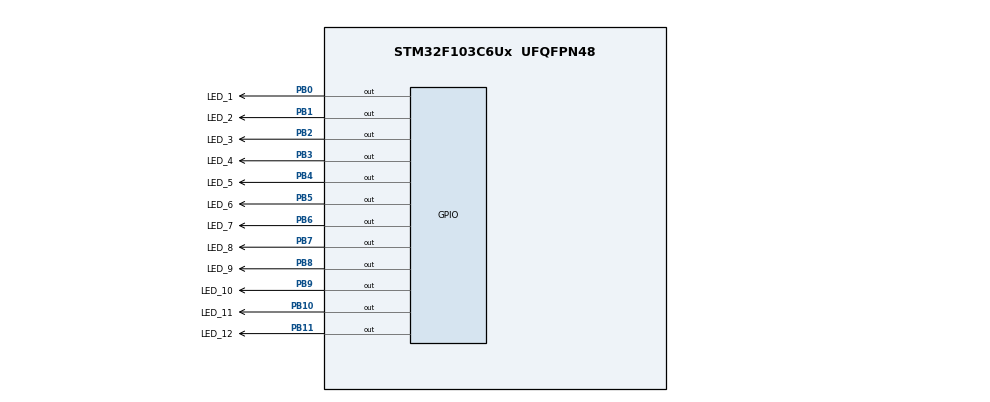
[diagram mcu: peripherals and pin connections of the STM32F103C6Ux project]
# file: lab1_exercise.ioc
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Mcu.Family=STM32F1
Mcu.Name=STM32F103C6Ux
Mcu.Package=UFQFPN48
NVIC.PriorityGroup=NVIC_PRIORITYGROUP_4
PB0.GPIO_Label=LED_1
PB0.Signal=GPIO_Output
PB1.GPIO_Label=LED_2
PB1.Signal=GPIO_Output
PB10.GPIO_Label=LED_11
PB10.Signal=GPIO_Output
PB11.GPIO_Label=LED_12
PB11.Signal=GPIO_Output
PB2.GPIO_Label=LED_3
PB2.Signal=GPIO_Output
PB3.GPIO_Label=LED_4
PB3.Signal=GPIO_Output
PB4.GPIO_Label=LED_5
PB4.Signal=GPIO_Output
PB5.GPIO_Label=LED_6
PB5.Signal=GPIO_Output
PB6.GPIO_Label=LED_7
PB6.Signal=GPIO_Output
PB7.GPIO_Label=LED_8
PB7.Signal=GPIO_Output
PB8.GPIO_Label=LED_9
PB8.Signal=GPIO_Output
PB9.GPIO_Label=LED_10
PB9.Signal=GPIO_Output
ProjectManager.HeapSize=0x200
ProjectManager.StackSize=0x400
ProjectManager.TargetToolchain=STM32CubeIDE
RCC.APB1Freq_Value=8000000
RCC.APB2Freq_Value=8000000
VP_SYS_VS_ND.Mode=No_Debug
board=custom

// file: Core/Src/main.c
/* USER CODE BEGIN Header */
/**
  ******************************************************************************
  * @file           : main.c
  * @brief          : Main program body
  ******************************************************************************
  * @attention
  *
  * <h2><center>&copy; Copyright (c) 2024 STMicroelectronics.
  * All rights reserved.</center></h2>
  *
  * This software component is licensed by ST under BSD 3-Clause license,
  * the "License"; You may not use this file except in compliance with the
  * License. You may obtain a copy of the License at:
  *                        opensource.org/licenses/BSD-3-Clause
  *
  ******************************************************************************
  */
/* USER CODE END Header */
#include "main.h"

void SystemClock_Config(void);
static void MX_GPIO_Init(void);

/* USER CODE BEGIN 0 */
void setNumberOnClock(int num){
	switch(num){
		case 1:
			HAL_GPIO_WritePin(LED_1_GPIO_Port, LED_1_Pin, SET);
			break;
		case 2:
			HAL_GPIO_WritePin(LED_2_GPIO_Port, LED_2_Pin, SET);
			break;
		case 3:
			HAL_GPIO_WritePin(LED_3_GPIO_Port, LED_3_Pin, SET);
			break;
		case 4:
			HAL_GPIO_WritePin(LED_4_GPIO_Port, LED_4_Pin, SET);
			break;
		case 5:
			HAL_GPIO_WritePin(LED_5_GPIO_Port, LED_5_Pin, SET);
			break;
		case 6:
			HAL_GPIO_WritePin(LED_6_GPIO_Port, LED_6_Pin, SET);
			break;
		case 7:
			HAL_GPIO_WritePin(LED_7_GPIO_Port, LED_7_Pin, SET);
			break;
		case 8:
			HAL_GPIO_WritePin(LED_8_GPIO_Port, LED_8_Pin, SET);
			break;
		case 9:
			HAL_GPIO_WritePin(LED_9_GPIO_Port, LED_9_Pin, SET);
			break;
		case 10:
			HAL_GPIO_WritePin(LED_10_GPIO_Port, LED_10_Pin, SET);
			break;
		case 11:
			HAL_GPIO_WritePin(LED_11_GPIO_Port, LED_11_Pin, SET);
			break;
		case 12:
			HAL_GPIO_WritePin(LED_12_GPIO_Port, LED_12_Pin, SET);
			break;
		default:
			break;
		}
}
void clearNumberOnClock(int num){
	switch(num){
		case 1:
			HAL_GPIO_WritePin(LED_1_GPIO_Port, LED_1_Pin, RESET);
			break;
		case 2:
			HAL_GPIO_WritePin(LED_2_GPIO_Port, LED_2_Pin, RESET);
			break;
		case 3:
			HAL_GPIO_WritePin(LED_3_GPIO_Port, LED_3_Pin, RESET);
			break;
		case 4:
			HAL_GPIO_WritePin(LED_4_GPIO_Port, LED_4_Pin, RESET);
			break;
		case 5:
			HAL_GPIO_WritePin(LED_5_GPIO_Port, LED_5_Pin, RESET);
			break;
		case 6:
			HAL_GPIO_WritePin(LED_6_GPIO_Port, LED_6_Pin, RESET);
			break;
		case 7:
			HAL_GPIO_WritePin(LED_7_GPIO_Port, LED_7_Pin, RESET);
			break;
		case 8:
			HAL_GPIO_WritePin(LED_8_GPIO_Port, LED_8_Pin, RESET);
			break;
		case 9:
			HAL_GPIO_WritePin(LED_9_GPIO_Port, LED_9_Pin, RESET);
			break;
		case 10:
			HAL_GPIO_WritePin(LED_10_GPIO_Port, LED_10_Pin, RESET);
			break;
		case 11:
			HAL_GPIO_WritePin(LED_11_GPIO_Port, LED_11_Pin, RESET);
			break;
		case 12:
			HAL_GPIO_WritePin(LED_12_GPIO_Port, LED_12_Pin, RESET);
			break;
		default:
			break;
		}
}
void clearAllClock (){
	HAL_GPIO_WritePin(LED_1_GPIO_Port, LED_1_Pin, RESET);
	HAL_GPIO_WritePin(LED_2_GPIO_Port, LED_2_Pin, RESET);
	HAL_GPIO_WritePin(LED_3_GPIO_Port, LED_3_Pin, RESET);
	HAL_GPIO_WritePin(LED_4_GPIO_Port, LED_4_Pin, RESET);
	HAL_GPIO_WritePin(LED_5_GPIO_Port, LED_5_Pin, RESET);
	HAL_GPIO_WritePin(LED_6_GPIO_Port, LED_6_Pin, RESET);
	HAL_GPIO_WritePin(LED_7_GPIO_Port, LED_7_Pin, RESET);
	HAL_GPIO_WritePin(LED_8_GPIO_Port, LED_8_Pin, RESET);
	HAL_GPIO_WritePin(LED_9_GPIO_Port, LED_9_Pin, RESET);
	HAL_GPIO_WritePin(LED_10_GPIO_Port, LED_10_Pin, RESET);
	HAL_GPIO_WritePin(LED_11_GPIO_Port, LED_11_Pin, RESET);
	HAL_GPIO_WritePin(LED_12_GPIO_Port, LED_12_Pin, RESET);

}
/* USER CODE END 0 */

int main(void)
{

  /* MCU Configuration--------------------------------------------------------*/

  /* Reset of all peripherals, Initializes the Flash interface and the Systick. */
  HAL_Init();

  /* Configure the system clock */
  SystemClock_Config();

  /* Initialize all configured peripherals */
  MX_GPIO_Init();

  /* Infinite loop */
  /* USER CODE BEGIN WHILE */
  //TODO ex10
  int hr = 5;
  int min = 49;
  int sec = 45;
  while (1)
  {

	  int pos_sec = sec/5;
	  int pos_min = min/5;
	  if(sec%5 == 0){
		  clearAllClock();
		  setNumberOnClock(pos_sec);
		  setNumberOnClock(pos_min);
		  setNumberOnClock(hr);
	  }
	  if(sec >= 60){
		  sec = 0;
		  min++;
	  }
	  if(min >= 60){
		  min = 0;
	  	  hr++;
	  }
	  if(hr >= 12){
	  	  hr = 0;
	  }
	  sec++;
	  HAL_Delay(1000);
    /* USER CODE END WHILE */

  }
}

void SystemClock_Config(void)
{
  RCC_OscInitTypeDef RCC_OscInitStruct = {0};
  RCC_ClkInitTypeDef RCC_ClkInitStruct = {0};

  /** Initializes the RCC Oscillators according to the specified parameters
  * in the RCC_OscInitTypeDef structure.
  */
  RCC_OscInitStruct.OscillatorType = RCC_OSCILLATORTYPE_HSI;
  RCC_OscInitStruct.HSIState = RCC_HSI_ON;
  RCC_OscInitStruct.HSICalibrationValue = RCC_HSICALIBRATION_DEFAULT;
  RCC_OscInitStruct.PLL.PLLState = RCC_PLL_NONE;
  if (HAL_RCC_OscConfig(&RCC_OscInitStruct) != HAL_OK)
  {
    Error_Handler();
  }
  /** Initializes the CPU, AHB and APB buses clocks
  */
  RCC_ClkInitStruct.ClockType = RCC_CLOCKTYPE_HCLK|RCC_CLOCKTYPE_SYSCLK
                              |RCC_CLOCKTYPE_PCLK1|RCC_CLOCKTYPE_PCLK2;
  RCC_ClkInitStruct.SYSCLKSource = RCC_SYSCLKSOURCE_HSI;
  RCC_ClkInitStruct.AHBCLKDivider = RCC_SYSCLK_DIV1;
  RCC_ClkInitStruct.APB1CLKDivider = RCC_HCLK_DIV1;
  RCC_ClkInitStruct.APB2CLKDivider = RCC_HCLK_DIV1;

  if (HAL_RCC_ClockConfig(&RCC_ClkInitStruct, FLASH_LATENCY_0) != HAL_OK)
  {
    Error_Handler();
  }
}

static void MX_GPIO_Init(void)
{
  GPIO_InitTypeDef GPIO_InitStruct = {0};

  /* GPIO Ports Clock Enable */
  __HAL_RCC_GPIOB_CLK_ENABLE();

  /*Configure GPIO pin Output Level */
  HAL_GPIO_WritePin(GPIOB, LED_1_Pin|LED_2_Pin|LED_3_Pin|LED_11_Pin
                          |LED_12_Pin|LED_4_Pin|LED_5_Pin|LED_6_Pin
                          |LED_7_Pin|LED_8_Pin|LED_9_Pin|LED_10_Pin, GPIO_PIN_RESET);

  /*Configure GPIO pins : LED_1_Pin LED_2_Pin LED_3_Pin LED_11_Pin
                           LED_12_Pin LED_4_Pin LED_5_Pin LED_6_Pin
                           LED_7_Pin LED_8_Pin LED_9_Pin LED_10_Pin */
  GPIO_InitStruct.Pin = LED_1_Pin|LED_2_Pin|LED_3_Pin|LED_11_Pin
                          |LED_12_Pin|LED_4_Pin|LED_5_Pin|LED_6_Pin
                          |LED_7_Pin|LED_8_Pin|LED_9_Pin|LED_10_Pin;
  GPIO_InitStruct.Mode = GPIO_MODE_OUTPUT_PP;
  GPIO_InitStruct.Pull = GPIO_NOPULL;
  GPIO_InitStruct.Speed = GPIO_SPEED_FREQ_LOW;
  HAL_GPIO_Init(GPIOB, &GPIO_InitStruct);

}

void Error_Handler(void)
{
  __disable_irq();
  while (1)
  {
  }
}

/************************ (C) COPYRIGHT STMicroelectronics *****END OF FILE****/
